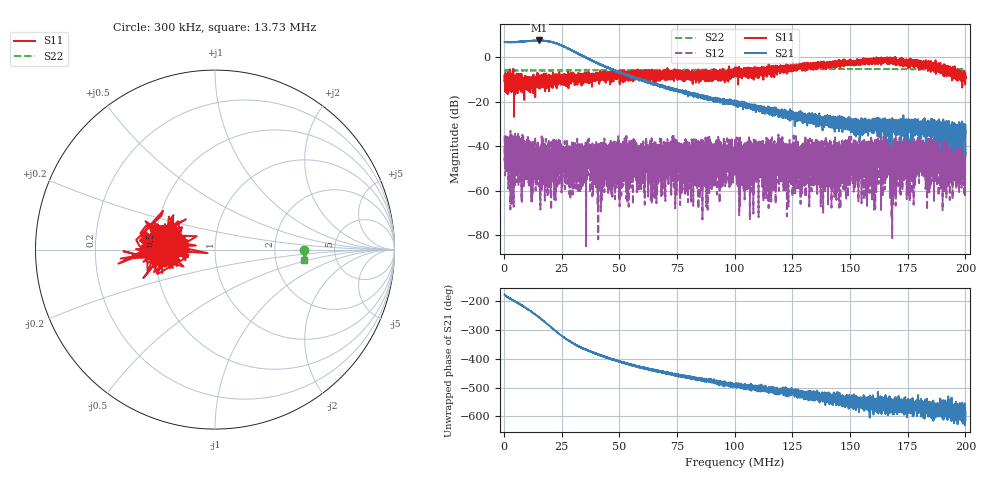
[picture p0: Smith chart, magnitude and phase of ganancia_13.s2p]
# Hz S DB R 50
! CMT, M5065, 19127446, 24.2.4/2
! Date: 10/29/2024 1:08:54 PM
! Data: Format (Calibration Info)
! Freq	S11:dB/Ang(F2)	S21:dB/Ang(F2)	S12:dB/Ang(F2)	S22:dB/Ang(F2)
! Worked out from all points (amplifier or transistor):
!   9000 points, 300 kHz to 200 MHz, reference 50 ohm
!   highest |S21| = 7.5 dB at 15.39 MHz (marker M1)
!   |S21| within 3 dB of that: start of sweep to 26.59 MHz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
!   unconditionally stable (mu >= 1): start of sweep to 169.5 MHz; 169.6 MHz to end of sweep
!   at 33.59 MHz: K = 66.57, MAG = 2.9 dB, |S12| = -47.5 dB
!   at 100.2 MHz: K = 444.45, MAG = -19.1 dB, |S12| = -42.1 dB
!   at 200 MHz: K = 8071.47, MAG = -43.0 dB, |S12| = -43.1 dB
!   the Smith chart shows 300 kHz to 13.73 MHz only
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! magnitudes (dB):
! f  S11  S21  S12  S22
! 300 kHz  -10.8  6.7  -35.2  -6.0
! 1.942 MHz  -11.5  6.7  -47.4  -6.0
! 10.18 MHz  -12.0  7.1  -37.0  -6.0
! 15.39 MHz  -11.6  7.5  -48.4  -6.0
! 23.65 MHz  -8.6  5.8  -44.7  -6.0
! 33.59 MHz  -7.7  0.8  -47.5  -5.9
! 36.65 MHz  -10.5  -0.8  -48.8  -5.9
! 41.44 MHz  -10.1  -3.2  -48.0  -5.9
! 43.68 MHz  -9.6  -4.1  -43.0  -5.9
! 50.67 MHz  -7.0  -7.1  -52.5  -5.9
! 56.82 MHz  -7.4  -9.4  -47.1  -5.8
! 59.13 MHz  -7.2  -10.1  -43.1  -5.8
! 66.87 MHz  -8.6  -12.6  -42.8  -5.8
! 100.2 MHz  -7.4  -21.3  -42.1  -5.7
! 111.4 MHz  -7.2  -22.1  -42.2  -5.7
! 114.1 MHz  -5.3  -23.7  -44.4  -5.6
! 119.9 MHz  -5.4  -24.7  -54.4  -5.5
! 128.3 MHz  -3.8  -27.4  -42.3  -5.5
! 133.4 MHz  -3.5  -27.3  -48.9  -5.4
! 166.7 MHz  -1.5  -29.7  -46.8  -5.4
! 198.5 MHz  -8.3  -28.8  -51.1  -5.5
! 200 MHz  -9.3  -45.0  -43.1  -5.5
